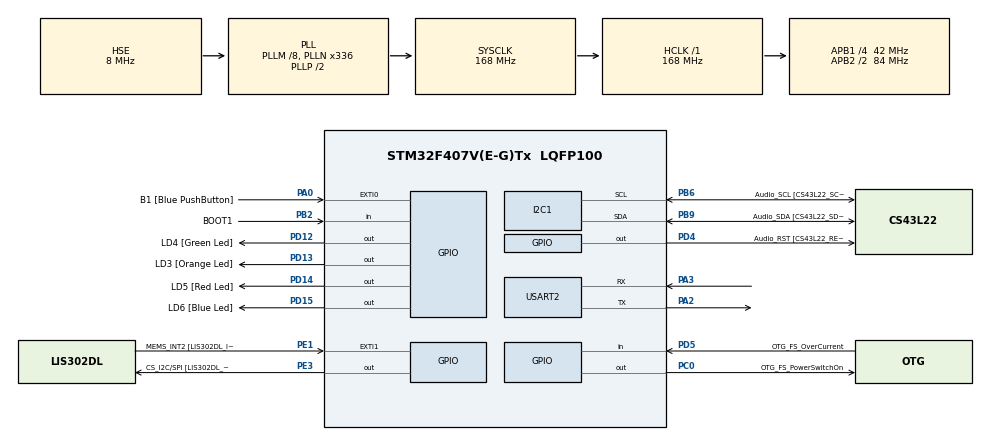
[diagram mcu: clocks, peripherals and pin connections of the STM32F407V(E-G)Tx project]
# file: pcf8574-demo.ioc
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Mcu.Family=STM32F4
Mcu.Name=STM32F407V(E-G)Tx
Mcu.Package=LQFP100
NVIC.PriorityGroup=NVIC_PRIORITYGROUP_0
PA0-WKUP.GPIO_Label=B1 [Blue PushButton]
PA0-WKUP.GPIO_ModeDefaultEXTI=GPIO_MODE_EVT_RISING
PA0-WKUP.GPIO_PuPd=GPIO_NOPULL
PA0-WKUP.Signal=GPXTI0
PA10.GPIO_Label=OTG_FS_ID
PA10.GPIO_Mode=GPIO_MODE_AF_PP
PA10.GPIO_PuPd=GPIO_NOPULL
PA10.GPIO_Speed=GPIO_SPEED_FREQ_LOW
PA10.Signal=USB_OTG_FS_ID
PA11.GPIO_Label=OTG_FS_DM
PA11.GPIO_Mode=GPIO_MODE_AF_PP
PA11.GPIO_PuPd=GPIO_NOPULL
PA11.GPIO_Speed=GPIO_SPEED_FREQ_LOW
PA11.Signal=USB_OTG_FS_DM
PA12.GPIO_Label=OTG_FS_DP
PA12.GPIO_Mode=GPIO_MODE_AF_PP
PA12.GPIO_PuPd=GPIO_NOPULL
PA12.GPIO_Speed=GPIO_SPEED_FREQ_LOW
PA12.Signal=USB_OTG_FS_DP
PA13.GPIO_Label=SWDIO
PA13.Mode=Serial_Wire
PA13.Signal=SYS_JTMS-SWDIO
PA14.GPIO_Label=SWCLK
PA14.Mode=Serial_Wire
PA14.Signal=SYS_JTCK-SWCLK
PA2.Mode=Asynchronous
PA2.Signal=USART2_TX
PA3.Mode=Asynchronous
PA3.Signal=USART2_RX
PA4.GPIO_Label=I2S3_WS [CS43L22_LRCK]
PA4.GPIO_Mode=GPIO_MODE_AF_PP
PA4.GPIO_PuPd=GPIO_NOPULL
PA4.GPIO_Speed=GPIO_SPEED_FREQ_LOW
PA4.Signal=I2S3_WS
PA5.GPIO_Label=SPI1_SCK [LIS302DL_SCL/SPC]
PA5.GPIO_Mode=GPIO_MODE_AF_PP
PA5.GPIO_PuPd=GPIO_NOPULL
PA5.GPIO_Speed=GPIO_SPEED_FREQ_LOW
PA5.Signal=SPI1_SCK
PA6.GPIO_Label=SPI1_MISO [LIS302DL_SDO]
PA6.GPIO_Mode=GPIO_MODE_AF_PP
PA6.GPIO_PuPd=GPIO_NOPULL
PA6.GPIO_Speed=GPIO_SPEED_FREQ_LOW
PA6.Signal=SPI1_MISO
PA7.GPIO_Label=SPI1_MOSI [LIS302DL_SDA/SDI/SDO]
PA7.GPIO_Mode=GPIO_MODE_AF_PP
PA7.GPIO_PuPd=GPIO_NOPULL
PA7.GPIO_Speed=GPIO_SPEED_FREQ_LOW
PA7.Signal=SPI1_MOSI
PA9.GPIO_Label=VBUS_FS
PA9.GPIO_Mode=GPIO_MODE_INPUT
PA9.GPIO_PuPd=GPIO_NOPULL
PA9.Signal=USB_OTG_FS_VBUS
PB10.GPIO_Label=CLK_IN [MP45DT02_CLK]
PB10.GPIO_Mode=GPIO_MODE_AF_PP
PB10.GPIO_PuPd=GPIO_NOPULL
PB10.GPIO_Speed=GPIO_SPEED_FREQ_LOW
PB10.Signal=I2S2_CK
PB2.GPIO_Label=BOOT1
PB2.GPIO_Mode=GPIO_MODE_INPUT
PB2.GPIO_PuPd=GPIO_NOPULL
PB2.Signal=GPIO_Input
PB3.GPIO_Label=SWO
PB3.Signal=SYS_JTDO-SWO
PB6.GPIO_Label=Audio_SCL [CS43L22_SCL]
PB6.GPIO_Mode=GPIO_MODE_AF_OD
PB6.GPIO_Pu=GPIO_PULLUP
PB6.GPIO_PuPd=GPIO_NOPULL
PB6.GPIO_Speed=GPIO_SPEED_FREQ_LOW
PB6.Mode=I2C
PB6.Signal=I2C1_SCL
PB9.GPIO_Label=Audio_SDA [CS43L22_SDA]
PB9.GPIO_Mode=GPIO_MODE_AF_OD
PB9.GPIO_Pu=GPIO_PULLUP
PB9.GPIO_PuPd=GPIO_NOPULL
PB9.GPIO_Speed=GPIO_SPEED_FREQ_LOW
PB9.Mode=I2C
PB9.Signal=I2C1_SDA
PC0.GPIO_Label=OTG_FS_PowerSwitchOn
PC0.GPIO_PuPd=GPIO_NOPULL
PC0.GPIO_Speed=GPIO_SPEED_FREQ_LOW
PC0.PinState=GPIO_PIN_SET
PC0.Signal=GPIO_Output
PC10.GPIO_Label=I2S3_SCK [CS43L22_SCLK]
PC10.GPIO_Mode=GPIO_MODE_AF_PP
PC10.GPIO_PuPd=GPIO_NOPULL
PC10.GPIO_Speed=GPIO_SPEED_FREQ_LOW
PC10.Signal=I2S3_CK
PC12.GPIO_Label=I2S3_SD [CS43L22_SDIN]
PC12.GPIO_Mode=GPIO_MODE_AF_PP
PC12.GPIO_PuPd=GPIO_NOPULL
PC12.GPIO_Speed=GPIO_SPEED_FREQ_LOW
PC12.Signal=I2S3_SD
PC14-OSC32_IN.GPIO_Label=PC14-OSC32_IN
PC14-OSC32_IN.Mode=LSE-External-Oscillator
PC14-OSC32_IN.Signal=RCC_OSC32_IN
PC15-OSC32_OUT.GPIO_Label=PC15-OSC32_OUT
PC15-OSC32_OUT.Mode=LSE-External-Oscillator
PC15-OSC32_OUT.Signal=RCC_OSC32_OUT
PC3.GPIO_Label=PDM_OUT [MP45DT02_DOUT]
PC3.GPIO_Mode=GPIO_MODE_AF_PP
PC3.GPIO_PuPd=GPIO_NOPULL
PC3.GPIO_Speed=GPIO_SPEED_FREQ_LOW
PC3.Signal=I2S2_SD
PC7.GPIO_Label=I2S3_MCK [CS43L22_MCLK]
PC7.GPIO_Mode=GPIO_MODE_AF_PP
PC7.GPIO_PuPd=GPIO_NOPULL
PC7.GPIO_Speed=GPIO_SPEED_FREQ_LOW
PC7.Signal=I2S3_MCK
PD12.GPIO_Label=LD4 [Green Led]
PD12.GPIO_PuPd=GPIO_NOPULL
PD12.GPIO_Speed=GPIO_SPEED_FREQ_LOW
PD12.Signal=GPIO_Output
PD13.GPIO_Label=LD3 [Orange Led]
PD13.GPIO_PuPd=GPIO_NOPULL
PD13.GPIO_Speed=GPIO_SPEED_FREQ_LOW
PD13.Signal=GPIO_Output
PD14.GPIO_Label=LD5 [Red Led]
PD14.GPIO_PuPd=GPIO_NOPULL
PD14.GPIO_Speed=GPIO_SPEED_FREQ_LOW
PD14.Signal=GPIO_Output
PD15.GPIO_Label=LD6 [Blue Led]
PD15.GPIO_PuPd=GPIO_NOPULL
PD15.GPIO_Speed=GPIO_SPEED_FREQ_LOW
PD15.Signal=GPIO_Output
PD4.GPIO_Label=Audio_RST [CS43L22_RESET]
PD4.GPIO_PuPd=GPIO_NOPULL
PD4.GPIO_Speed=GPIO_SPEED_FREQ_LOW
PD4.Signal=GPIO_Output
PD5.GPIO_Label=OTG_FS_OverCurrent
PD5.GPIO_Mode=GPIO_MODE_INPUT
PD5.GPIO_PuPd=GPIO_NOPULL
PD5.Signal=GPIO_Input
PE1.GPIO_Label=MEMS_INT2 [LIS302DL_INT2]
PE1.GPIO_ModeDefaultEXTI=GPIO_MODE_EVT_RISING
PE1.GPIO_PuPd=GPIO_NOPULL
PE1.Signal=GPXTI1
PE3.GPIO_Label=CS_I2C/SPI [LIS302DL_CS_I2C/SPI]
PE3.GPIO_PuPd=GPIO_NOPULL
PE3.GPIO_Speed=GPIO_SPEED_FREQ_LOW
PE3.Signal=GPIO_Output
PH0-OSC_IN.GPIO_Label=PH0-OSC_IN
PH0-OSC_IN.Mode=HSE-External-Oscillator
PH0-OSC_IN.Signal=RCC_OSC_IN
PH1-OSC_OUT.GPIO_Label=PH1-OSC_OUT
PH1-OSC_OUT.Mode=HSE-External-Oscillator
PH1-OSC_OUT.Signal=RCC_OSC_OUT
ProjectManager.HeapSize=0x200
ProjectManager.StackSize=0x400
ProjectManager.TargetToolchain=STM32CubeIDE
RCC.48MHZClocksFreq_Value=48000000
RCC.AHBFreq_Value=168000000
RCC.APB1CLKDivider=RCC_HCLK_DIV4
RCC.APB1Freq_Value=42000000
RCC.APB1TimFreq_Value=84000000
RCC.APB2CLKDivider=RCC_HCLK_DIV2
RCC.APB2Freq_Value=84000000
RCC.APB2TimFreq_Value=168000000
RCC.CortexFreq_Value=168000000
RCC.HCLKFreq_Value=168000000
RCC.HSE_VALUE=8000000
RCC.HSI_VALUE=16000000
RCC.PLLM=8
RCC.PLLN=336
RCC.PLLQ=7
RCC.PLLSourceVirtual=RCC_PLLSOURCE_HSE
RCC.SYSCLKFreq_VALUE=168000000
RCC.SYSCLKSource=RCC_SYSCLKSOURCE_PLLCLK
RCC.VCOOutputFreq_Value=336000000
USART2.VirtualMode=VM_ASYNC
board=STM32F407G-DISC1

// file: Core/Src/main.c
/* USER CODE BEGIN Header */
/**
  ******************************************************************************
  * @file           : main.c
  * @brief          : Main program body
  ******************************************************************************
  * @attention
  *
  * Copyright (c) 2026 STMicroelectronics.
  * All rights reserved.
  *
  * This software is licensed under terms that can be found in the LICENSE file
  * in the root directory of this software component.
  * If no LICENSE file comes with this software, it is provided AS-IS.
  *
  ******************************************************************************
  */
/* USER CODE END Header */
#include "main.h"

/* USER CODE BEGIN Includes */
#include <stdio.h>
#include <string.h>
/* USER CODE END Includes */

/* USER CODE BEGIN PD */
#define PCF_ADDRESS (0x20U << 1)
#define INPUT_MASK 0xF0U
#define BUTTON_POLL_INTERVAL_MS 200U
#define LED_TOGGLE_INTERVAL_MS 1000U

/* USER CODE END PD */

I2C_HandleTypeDef hi2c1;

UART_HandleTypeDef huart2;

void SystemClock_Config(void);
static void MX_GPIO_Init(void);
static void MX_I2C1_Init(void);
static void MX_USART2_UART_Init(void);

/* USER CODE BEGIN 0 */
static void print_line(const char *text)
{
    HAL_UART_Transmit(&huart2, (const uint8_t *)text, (uint16_t)strlen(text), 100U);
}

static void fail(const char *text)
{
    print_line(text);
    while(1) { }
}

static void write_port(uint8_t value)
{
    if(HAL_I2C_Master_Transmit(&hi2c1, PCF_ADDRESS, &value, 1, 100U) != HAL_OK)
    {
        fail("ERROR: PCF8574 write\r\n");
    }
}

static uint8_t read_port(void)
{
    uint8_t value;
    if(HAL_I2C_Master_Receive(&hi2c1, PCF_ADDRESS, &value, 1, 100U) != HAL_OK)
    {
        fail("ERROR: PCF8574 read\r\n");
    }
    return value;
}

static void validate_pcf8574(void)
{
    // All LEDs off (active-low). P4..P7 remain released for button input.
    write_port(0xFFU);
    uint8_t observed = read_port();
    // A held button is valid at boot, so do not compare the input bits to 1.
    if((observed & 0x0FU) != 0x0FU) { fail("ERROR: output readback\r\n"); }
    print_line("PCF8574 ready: P0..P3 LEDs; P4..P7 buttons\r\n");
}

/* USER CODE END 0 */

int main(void)
{

  /* MCU Configuration--------------------------------------------------------*/

  /* Reset of all peripherals, Initializes the Flash interface and the Systick. */
  HAL_Init();

  /* Configure the system clock */
  SystemClock_Config();

  /* Initialize all configured peripherals */
  MX_GPIO_Init();
  MX_I2C1_Init();
  MX_USART2_UART_Init();
  /* USER CODE BEGIN 2 */
  print_line("STM32F407 / PCF8574 lab\r\n");
  validate_pcf8574();
    uint8_t ledLevels = 0x0FU;
    uint8_t nextLed = 0U;
    uint8_t previousInputs = 0xFFU;  // Sentinel: also print the first sample.
    uint32_t lastButtonPoll = HAL_GetTick();
    uint32_t lastLedToggle = HAL_GetTick();

  /* USER CODE END 2 */

  /* Infinite loop */
  while (1)
  {

    /* USER CODE BEGIN 3 */
        uint32_t now = HAL_GetTick();
        if((uint32_t)(now - lastButtonPoll) >= BUTTON_POLL_INTERVAL_MS)
        {
            lastButtonPoll += BUTTON_POLL_INTERVAL_MS;
            uint8_t inputs = (uint8_t)((read_port() >> 4) & 0x0FU);
            if(inputs != previousInputs)
            {
                char message[48];
                snprintf(message, sizeof(message), "INPUT P7..P4=0x%X\r\n", (unsigned)inputs);
                print_line(message);
                previousInputs = inputs;
            }
        }

        if((uint32_t)(now - lastLedToggle) >= LED_TOGGLE_INTERVAL_MS)
        {
            lastLedToggle += LED_TOGGLE_INTERVAL_MS;
            // Toggle ONE pin per step: P0, P1, P2, P3, then repeat.
            uint8_t toggledLed = nextLed;
            ledLevels ^= (uint8_t)(1U << toggledLed);
            nextLed = (uint8_t)((nextLed + 1U) % 4U);
            // Never copy observed button lows back into the output latch.
            write_port((uint8_t)(INPUT_MASK | ledLevels));

            char message[32];
            snprintf(message, sizeof(message), "LED P%u=%s\r\n", (unsigned)toggledLed,
                (ledLevels & (1U << toggledLed)) == 0U ? "ON" : "OFF");
            print_line(message);
        }
        HAL_Delay(5U);

  }
  /* USER CODE END 3 */
}

void SystemClock_Config(void)
{
  RCC_OscInitTypeDef RCC_OscInitStruct = {0};
  RCC_ClkInitTypeDef RCC_ClkInitStruct = {0};

  /** Configure the main internal regulator output voltage
  */
  __HAL_RCC_PWR_CLK_ENABLE();
  __HAL_PWR_VOLTAGESCALING_CONFIG(PWR_REGULATOR_VOLTAGE_SCALE1);

  /** Initializes the RCC Oscillators according to the specified parameters
  * in the RCC_OscInitTypeDef structure.
  */
  RCC_OscInitStruct.OscillatorType = RCC_OSCILLATORTYPE_HSE;
  RCC_OscInitStruct.HSEState = RCC_HSE_ON;
  RCC_OscInitStruct.PLL.PLLState = RCC_PLL_ON;
  RCC_OscInitStruct.PLL.PLLSource = RCC_PLLSOURCE_HSE;
  RCC_OscInitStruct.PLL.PLLM = 8;
  RCC_OscInitStruct.PLL.PLLN = 336;
  RCC_OscInitStruct.PLL.PLLP = RCC_PLLP_DIV2;
  RCC_OscInitStruct.PLL.PLLQ = 7;
  if (HAL_RCC_OscConfig(&RCC_OscInitStruct) != HAL_OK)
  {
    Error_Handler();
  }

  /** Initializes the CPU, AHB and APB buses clocks
  */
  RCC_ClkInitStruct.ClockType = RCC_CLOCKTYPE_HCLK|RCC_CLOCKTYPE_SYSCLK
                              |RCC_CLOCKTYPE_PCLK1|RCC_CLOCKTYPE_PCLK2;
  RCC_ClkInitStruct.SYSCLKSource = RCC_SYSCLKSOURCE_PLLCLK;
  RCC_ClkInitStruct.AHBCLKDivider = RCC_SYSCLK_DIV1;
  RCC_ClkInitStruct.APB1CLKDivider = RCC_HCLK_DIV4;
  RCC_ClkInitStruct.APB2CLKDivider = RCC_HCLK_DIV2;

  if (HAL_RCC_ClockConfig(&RCC_ClkInitStruct, FLASH_LATENCY_5) != HAL_OK)
  {
    Error_Handler();
  }
}

static void MX_I2C1_Init(void)
{

  hi2c1.Instance = I2C1;
  hi2c1.Init.ClockSpeed = 100000;
  hi2c1.Init.DutyCycle = I2C_DUTYCYCLE_2;
  hi2c1.Init.OwnAddress1 = 0;
  hi2c1.Init.AddressingMode = I2C_ADDRESSINGMODE_7BIT;
  hi2c1.Init.DualAddressMode = I2C_DUALADDRESS_DISABLE;
  hi2c1.Init.OwnAddress2 = 0;
  hi2c1.Init.GeneralCallMode = I2C_GENERALCALL_DISABLE;
  hi2c1.Init.NoStretchMode = I2C_NOSTRETCH_DISABLE;
  if (HAL_I2C_Init(&hi2c1) != HAL_OK)
  {
    Error_Handler();
  }

}

static void MX_USART2_UART_Init(void)
{

  huart2.Instance = USART2;
  huart2.Init.BaudRate = 115200;
  huart2.Init.WordLength = UART_WORDLENGTH_8B;
  huart2.Init.StopBits = UART_STOPBITS_1;
  huart2.Init.Parity = UART_PARITY_NONE;
  huart2.Init.Mode = UART_MODE_TX_RX;
  huart2.Init.HwFlowCtl = UART_HWCONTROL_NONE;
  huart2.Init.OverSampling = UART_OVERSAMPLING_16;
  if (HAL_UART_Init(&huart2) != HAL_OK)
  {
    Error_Handler();
  }

}

static void MX_GPIO_Init(void)
{
  GPIO_InitTypeDef GPIO_InitStruct = {0};

  /* GPIO Ports Clock Enable */
  __HAL_RCC_GPIOE_CLK_ENABLE();
  __HAL_RCC_GPIOC_CLK_ENABLE();
  __HAL_RCC_GPIOH_CLK_ENABLE();
  __HAL_RCC_GPIOA_CLK_ENABLE();
  __HAL_RCC_GPIOB_CLK_ENABLE();
  __HAL_RCC_GPIOD_CLK_ENABLE();

  /*Configure GPIO pin Output Level */
  HAL_GPIO_WritePin(CS_I2C_SPI_GPIO_Port, CS_I2C_SPI_Pin, GPIO_PIN_RESET);

  /*Configure GPIO pin Output Level */
  HAL_GPIO_WritePin(OTG_FS_PowerSwitchOn_GPIO_Port, OTG_FS_PowerSwitchOn_Pin, GPIO_PIN_SET);

  /*Configure GPIO pin Output Level */
  HAL_GPIO_WritePin(GPIOD, LD4_Pin|LD3_Pin|LD5_Pin|LD6_Pin
                          |Audio_RST_Pin, GPIO_PIN_RESET);

  /*Configure GPIO pin : CS_I2C_SPI_Pin */
  GPIO_InitStruct.Pin = CS_I2C_SPI_Pin;
  GPIO_InitStruct.Mode = GPIO_MODE_OUTPUT_PP;
  GPIO_InitStruct.Pull = GPIO_NOPULL;
  GPIO_InitStruct.Speed = GPIO_SPEED_FREQ_LOW;
  HAL_GPIO_Init(CS_I2C_SPI_GPIO_Port, &GPIO_InitStruct);

  /*Configure GPIO pin : OTG_FS_PowerSwitchOn_Pin */
  GPIO_InitStruct.Pin = OTG_FS_PowerSwitchOn_Pin;
  GPIO_InitStruct.Mode = GPIO_MODE_OUTPUT_PP;
  GPIO_InitStruct.Pull = GPIO_NOPULL;
  GPIO_InitStruct.Speed = GPIO_SPEED_FREQ_LOW;
  HAL_GPIO_Init(OTG_FS_PowerSwitchOn_GPIO_Port, &GPIO_InitStruct);

  /*Configure GPIO pin : PDM_OUT_Pin */
  GPIO_InitStruct.Pin = PDM_OUT_Pin;
  GPIO_InitStruct.Mode = GPIO_MODE_AF_PP;
  GPIO_InitStruct.Pull = GPIO_NOPULL;
  GPIO_InitStruct.Speed = GPIO_SPEED_FREQ_LOW;
  GPIO_InitStruct.Alternate = GPIO_AF5_SPI2;
  HAL_GPIO_Init(PDM_OUT_GPIO_Port, &GPIO_InitStruct);

  /*Configure GPIO pin : B1_Pin */
  GPIO_InitStruct.Pin = B1_Pin;
  GPIO_InitStruct.Mode = GPIO_MODE_EVT_RISING;
  GPIO_InitStruct.Pull = GPIO_NOPULL;
  HAL_GPIO_Init(B1_GPIO_Port, &GPIO_InitStruct);

  /*Configure GPIO pin : I2S3_WS_Pin */
  GPIO_InitStruct.Pin = I2S3_WS_Pin;
  GPIO_InitStruct.Mode = GPIO_MODE_AF_PP;
  GPIO_InitStruct.Pull = GPIO_NOPULL;
  GPIO_InitStruct.Speed = GPIO_SPEED_FREQ_LOW;
  GPIO_InitStruct.Alternate = GPIO_AF6_SPI3;
  HAL_GPIO_Init(I2S3_WS_GPIO_Port, &GPIO_InitStruct);

  /*Configure GPIO pins : SPI1_SCK_Pin SPI1_MISO_Pin SPI1_MOSI_Pin */
  GPIO_InitStruct.Pin = SPI1_SCK_Pin|SPI1_MISO_Pin|SPI1_MOSI_Pin;
  GPIO_InitStruct.Mode = GPIO_MODE_AF_PP;
  GPIO_InitStruct.Pull = GPIO_NOPULL;
  GPIO_InitStruct.Speed = GPIO_SPEED_FREQ_LOW;
  GPIO_InitStruct.Alternate = GPIO_AF5_SPI1;
  HAL_GPIO_Init(GPIOA, &GPIO_InitStruct);

  /*Configure GPIO pin : BOOT1_Pin */
  GPIO_InitStruct.Pin = BOOT1_Pin;
  GPIO_InitStruct.Mode = GPIO_MODE_INPUT;
  GPIO_InitStruct.Pull = GPIO_NOPULL;
  HAL_GPIO_Init(BOOT1_GPIO_Port, &GPIO_InitStruct);

  /*Configure GPIO pin : CLK_IN_Pin */
  GPIO_InitStruct.Pin = CLK_IN_Pin;
  GPIO_InitStruct.Mode = GPIO_MODE_AF_PP;
  GPIO_InitStruct.Pull = GPIO_NOPULL;
  GPIO_InitStruct.Speed = GPIO_SPEED_FREQ_LOW;
  GPIO_InitStruct.Alternate = GPIO_AF5_SPI2;
  HAL_GPIO_Init(CLK_IN_GPIO_Port, &GPIO_InitStruct);

  /*Configure GPIO pins : LD4_Pin LD3_Pin LD5_Pin LD6_Pin
                           Audio_RST_Pin */
  GPIO_InitStruct.Pin = LD4_Pin|LD3_Pin|LD5_Pin|LD6_Pin
                          |Audio_RST_Pin;
  GPIO_InitStruct.Mode = GPIO_MODE_OUTPUT_PP;
  GPIO_InitStruct.Pull = GPIO_NOPULL;
  GPIO_InitStruct.Speed = GPIO_SPEED_FREQ_LOW;
  HAL_GPIO_Init(GPIOD, &GPIO_InitStruct);

  /*Configure GPIO pins : I2S3_MCK_Pin I2S3_SCK_Pin I2S3_SD_Pin */
  GPIO_InitStruct.Pin = I2S3_MCK_Pin|I2S3_SCK_Pin|I2S3_SD_Pin;
  GPIO_InitStruct.Mode = GPIO_MODE_AF_PP;
  GPIO_InitStruct.Pull = GPIO_NOPULL;
  GPIO_InitStruct.Speed = GPIO_SPEED_FREQ_LOW;
  GPIO_InitStruct.Alternate = GPIO_AF6_SPI3;
  HAL_GPIO_Init(GPIOC, &GPIO_InitStruct);

  /*Configure GPIO pin : VBUS_FS_Pin */
  GPIO_InitStruct.Pin = VBUS_FS_Pin;
  GPIO_InitStruct.Mode = GPIO_MODE_INPUT;
  GPIO_InitStruct.Pull = GPIO_NOPULL;
  HAL_GPIO_Init(VBUS_FS_GPIO_Port, &GPIO_InitStruct);

  /*Configure GPIO pins : OTG_FS_ID_Pin OTG_FS_DM_Pin OTG_FS_DP_Pin */
  GPIO_InitStruct.Pin = OTG_FS_ID_Pin|OTG_FS_DM_Pin|OTG_FS_DP_Pin;
  GPIO_InitStruct.Mode = GPIO_MODE_AF_PP;
  GPIO_InitStruct.Pull = GPIO_NOPULL;
  GPIO_InitStruct.Speed = GPIO_SPEED_FREQ_LOW;
  GPIO_InitStruct.Alternate = GPIO_AF10_OTG_FS;
  HAL_GPIO_Init(GPIOA, &GPIO_InitStruct);

  /*Configure GPIO pin : OTG_FS_OverCurrent_Pin */
  GPIO_InitStruct.Pin = OTG_FS_OverCurrent_Pin;
  GPIO_InitStruct.Mode = GPIO_MODE_INPUT;
  GPIO_InitStruct.Pull = GPIO_NOPULL;
  HAL_GPIO_Init(OTG_FS_OverCurrent_GPIO_Port, &GPIO_InitStruct);

  /*Configure GPIO pin : MEMS_INT2_Pin */
  GPIO_InitStruct.Pin = MEMS_INT2_Pin;
  GPIO_InitStruct.Mode = GPIO_MODE_EVT_RISING;
  GPIO_InitStruct.Pull = GPIO_NOPULL;
  HAL_GPIO_Init(MEMS_INT2_GPIO_Port, &GPIO_InitStruct);

}

void Error_Handler(void)
{
  __disable_irq();
  while (1)
  {
  }
}
